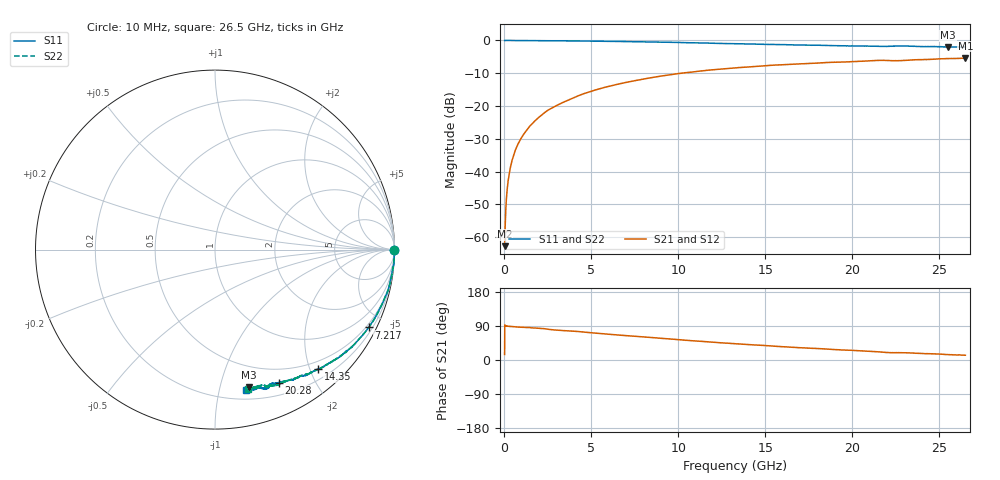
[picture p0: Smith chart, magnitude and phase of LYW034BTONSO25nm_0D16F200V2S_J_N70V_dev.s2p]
!Keysight Technologies,N5222B,MY61253708,A.15.00.15
!Date: Wednesday, June 19, 2024 09:19:28
!Correction: S11(C  2-Port  )
!S21(C  2-Port  )
!S12(C  2-Port  )
!S22(C  2-Port  )
!S2P File: Measurements: S11, S21, S12, S22:
# Hz S  RI  R 50
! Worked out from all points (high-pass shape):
!   2651 points, 10 MHz to 26.5 GHz, reference 50 ohm
!   highest |S21| = -5.36 dB at 26.5 GHz (marker M1); lowest = -62.7 dB at 20 MHz (marker M2)
!   |S21| within 3 dB of the highest: 13.28 GHz to end of sweep
!   lowest |S11| = -2.1 dB at 25.5 GHz (marker M3), VSWR 8.48, Z = 15.2 - j61.7 ohm
!   |S11| at or under -10 dB: nowhere
!   |S22| runs from -2.0 to 0.0 dB; largest |S21 - S12| = 0.0069
!   S11 on the Smith chart (normalised r, x): 10 MHz: open; 7.217 GHz: 0.38, -4.15; 14.35 GHz: 0.36, -2.13; 20.28 GHz: 0.33, -1.54; 26.5 GHz: 0.28, -1.21
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1e7  0.9988 -0.00268  0.000762 0.000199  4.54e-05 0.000594  0.9987 -0.00108
1.999623e7  0.9991 -0.00205  -3.2e-05 0.000729  0.000162 0.00064  0.9991 -0.00233
7.997358e7  0.9998 -0.00583  3.56e-06 0.0027  5.53e-06 0.00274  0.9993 -0.00541
1.799358e8  0.9998 -0.0123  7.18e-05 0.00608  8.3e-05 0.00614  0.9995 -0.0118
2.29917e8  0.9995 -0.0164  0.000125 0.00778  0.00012 0.00787  0.9992 -0.0155
2.998906e8  0.9995 -0.0209  0.000279 0.0101  0.000237 0.0102  0.9992 -0.0202
4.098491e8  0.9992 -0.0284  0.000368 0.0138  0.000387 0.014  0.9993 -0.0273
5.497962e8  0.9987 -0.0378  0.000685 0.0186  0.000679 0.0187  0.9985 -0.037
9.096604e8  0.9974 -0.0622  0.00184 0.0305  0.00181 0.0308  0.9971 -0.0614
1.509434e9  0.9896 -0.1028  0.00451 0.0509  0.00456 0.0512  0.9923 -0.1006
2.369109e9  0.9808 -0.1572  0.0111 0.0809  0.0114 0.0815  0.982 -0.1579
3.208792e9  0.9686 -0.2114  0.0223 0.1062  0.0225 0.1069  0.9685 -0.211
4.428332e9  0.9396 -0.2852  0.0404 0.1443  0.0408 0.1453  0.941 -0.283
7.217279e9  0.8558 -0.434  0.1048 0.2108  0.1063 0.2117  0.8561 -0.4339
8.846664e9  0.7951 -0.5071  0.1501 0.2389  0.1518 0.2396  0.7958 -0.5062
1.3255e10  0.6164 -0.6445  0.279 0.2603  0.2815 0.2601  0.6185 -0.6437
1.435458e10  0.5747 -0.6673  0.3076 0.2568  0.3099 0.256  0.5762 -0.6647
1.767333e10  0.4428 -0.7203  0.3843 0.2299  0.3882 0.228  0.4519 -0.7179
2.028235e10  0.3569 -0.7432  0.4345 0.2015  0.4374 0.1987  0.3717 -0.7444
2.209166e10  0.3084 -0.7501  0.4654 0.1662  0.4673 0.1629  0.3009 -0.7561
2.550038e10  0.1905 -0.7656  0.5128 0.1288  0.5145 0.1283  0.2095 -0.7686
2.65e10  0.1719 -0.7803  0.5263 0.1177  0.5257 0.1136  0.1834 -0.7783
